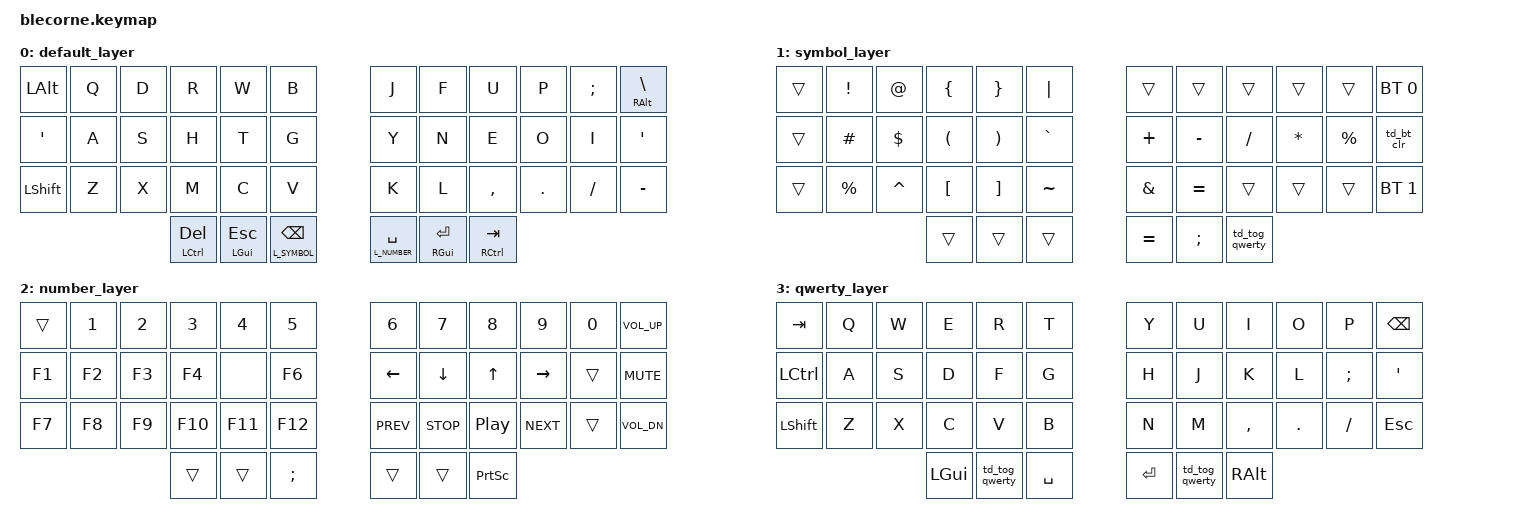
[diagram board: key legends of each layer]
/*
 * Copyright (c) 2020 The ZMK Contributors
 * SPDX-License-Identifier: MIT
 */

#include <behaviors.dtsi>
#include <dt-bindings/zmk/keys.h>
#include <dt-bindings/zmk/bt.h>
#include <dt-bindings/zmk/behaviors.h>

#define L_DEFAULT 0
#define L_SYMBOL 1
#define L_NUMBER 2
#define L_QWERTY 3

/ {
    chosen {
        zmk,physical-layout = &foostan_corne_6col_layout;
        // zmk,physical-layout = &foostan_corne_5col_layout;
    };
};

/ {
    behaviors {
        td_bt_clr: tap_dance_bluetooth_clear_triple {
            compatible = "zmk,behavior-tap-dance";
            #binding-cells = <0>;
            tapping-term-ms = <200>;
            bindings = <&none>, <&none>, <&bt BT_CLR>;
        };
        td_tog_qwerty: tap_dance_toggle_qwerty {
            compatible = "zmk,behavior-tap-dance";
            #binding-cells = <0>;
            tapping-term-ms = <200>;
            bindings = <&none>, <&none>, <&tog L_QWERTY>;
        };
        mt: mod_tap {
            quick-tap-ms = <150>;
        };
        lt: layer_tap {
            flavor = "hold-preferred";
            quick-tap-ms = <150>;
        };
    };

    keymap {
        compatible = "zmk,keymap";

        default_layer { // l0
            bindings = <
                &kp LALT   &kp Q &kp D &kp R &kp W &kp B   &kp J &kp F  &kp U     &kp P   &kp SEMI &mt RALT BSLH
                &kp SQT    &kp A &kp S &kp H &kp T &kp G   &kp Y &kp N  &kp E     &kp O   &kp I    &kp SQT
                &kp LSHFT  &kp Z &kp X &kp M &kp C &kp V   &kp K &kp L  &kp COMMA &kp DOT &kp FSLH &kp MINUS
            &mt LCTRL DEL &mt LGUI ESC &lt L_SYMBOL BKSP   &lt L_NUMBER SPACE &mt RGUI RET &mt RCTRL TAB
            >;
        };
        symbol_layer { // l1
            bindings = <
                &trans &kp EXCL  &kp AT    &kp LBRC &kp RBRC &kp PIPE    &trans   &trans    &trans   &trans   &trans    &bt BT_SEL 0
                &trans &kp HASH  &kp DLLR  &kp LPAR &kp RPAR &kp GRAVE   &kp PLUS &kp MINUS &kp FSLH &kp STAR &kp PRCNT &td_bt_clr
                &trans &kp PRCNT &kp CARET &kp LBKT &kp RBKT &kp TILDE   &kp AMPS &kp EQUAL &trans   &trans   &trans    &bt BT_SEL 1
                                                  &trans &trans &trans   &kp EQUAL &kp SEMI &td_tog_qwerty
            >;
        };

        number_layer { // l2
            bindings = <
                 &trans &kp N1 &kp N2 &kp N3  &kp N4  &kp N5    &kp N6     &kp N7     &kp N8   &kp N9     &kp N0 &kp C_VOL_UP
                 &kp F1 &kp F2 &kp F3 &kp F4  &none   &kp F6    &kp LEFT   &kp DOWN   &kp UP   &kp RIGHT  &trans &kp C_MUTE
                 &kp F7 &kp F8 &kp F9 &kp F10 &kp F11 &kp F12   &kp C_PREV &kp C_STOP &kp C_PP &kp C_NEXT &trans &kp C_VOL_DN
                                       &trans &trans &kp SEMI   &trans &trans &kp PSCRN
            >;
        };

        qwerty_layer { // l3
            bindings = <
                &kp TAB   &kp Q &kp W &kp E &kp R &kp T   &kp Y &kp U  &kp I     &kp O   &kp P    &kp BSPC
                &kp LCTRL &kp A &kp S &kp D &kp F &kp G   &kp H &kp J  &kp K     &kp L   &kp SEMI &kp SQT
                &kp LSHFT &kp Z &kp X &kp C &kp V &kp B   &kp N &kp M  &kp COMMA &kp DOT &kp FSLH &kp ESC
                      &kp LGUI &td_tog_qwerty &kp SPACE   &kp RET &td_tog_qwerty &kp RALT
            >;
        };
    };
};
